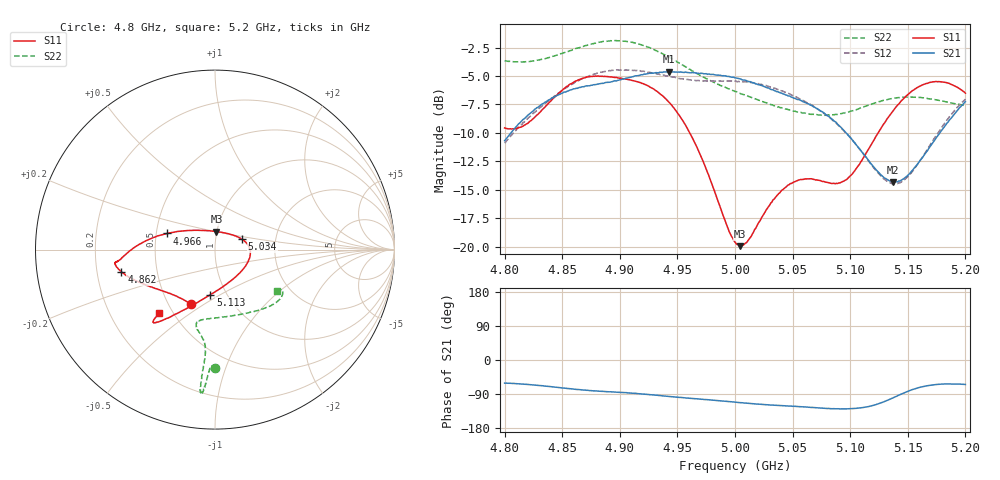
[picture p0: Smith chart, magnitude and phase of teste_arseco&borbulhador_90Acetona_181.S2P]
! Network Analyzer HP8722D
! Hewlett-Packard
! Data name: Linha & Wilkinson
! Saver's name: Rodrigo Anjos
! Comments: Teste da utilização de aquisição
! continua pelo VNA HP8722D
! Time and date: 17/4/2025 12:33
!  Frequency  S11  S21  S12  S22
# HZ  S  MA R 50
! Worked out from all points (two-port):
!   401 points, 4.8 GHz to 5.2 GHz, reference 50 ohm
!   highest |S21| = -4.62 dB at 4.943 GHz (marker M1); lowest = -14.3 dB at 5.137 GHz (marker M2)
!   |S21| within 3 dB of the highest: 4.83 GHz to 5.067 GHz (236.7 MHz wide, 4.78 % of centre); 5.196557 GHz to end of sweep
!   lowest |S11| = -20.0 dB at 5.004 GHz (marker M3), VSWR 1.22, Z = 49.8 + j10.1 ohm
!   |S11| at or under -10 dB: 4.961 GHz to 5.124 GHz (163.5 MHz wide, 3.24 % of centre)
!   |S22| runs from -8.5 to -1.9 dB; largest |S21 - S12| = 0.88
!   S11 on the Smith chart (normalised r, x): 4.8 GHz: 0.64, -0.44; 4.862 GHz: 0.31, -0.11; 4.966 GHz: 0.57, +0.11; 5.034 GHz: 1.35, +0.16; 5.113 GHz: 0.84, -0.45; 5.2 GHz: 0.42, -0.38
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4.8e9  0.3327 -113.9  0.2921 -61.1  0.2853 -175.2  0.6573 -90.0
4.819e9  0.3464 -134.0  0.3731 -64.3  0.361 -173.9  0.6515 -91.6
4.862e9  0.5357 -166.6  0.4969 -77.3  0.5303 -177.0  0.7444 -93.9
4.867e9  0.5482 -168.5  0.504 -78.8  0.5456 -178.1  0.7587 -94.1
4.898e9  0.5527 -173.0  0.5383 -85.0  0.5989 175.6  0.8044 -95.4
4.934e9  0.4744 -179.3  0.5826 -93.8  0.5745 171.7  0.717 -95.9
4.943e9  0.4296 176.7  0.5873 -96.3  0.5608 171.7  0.6793 -95.8
4.966e9  0.2799 161.2  0.5803 -102.2  0.537 173.7  0.5808 -95.3
5e9  0.1046 99.1  0.5528 -111.5  0.534 175.9  0.4813 -99.6
5.004e9  0.1004 85.5  0.5473 -112.4  0.5313 176.0  0.473 -100.3
5.012e9  0.1074 59.9  0.5315 -114.4  0.5264 175.7  0.4573 -102.2
5.034e9  0.1617 20.7  0.4859 -119.4  0.4979 174.7  0.4162 -104.0
5.049e9  0.1895 5.3  0.454 -121.7  0.4641 174.1  0.397 -100.1
5.067e9  0.1984 -13.8  0.4163 -125.2  0.4184 173.4  0.382 -91.0
5.093e9  0.1926 -58.0  0.3303 -128.9  0.3288 174.1  0.385 -70.8
5.113e9  0.2529 -95.9  0.25 -124.5  0.2487 -180.0  0.4141 -55.1
5.134e9  0.3759 -117.2  0.1947 -104.3  0.1914 -157.1  0.4458 -43.1
5.137e9  0.3938 -119.0  0.1923 -100.2  0.1889 -152.3  0.4485 -41.8
5.15e9  0.466 -124.8  0.2057 -82.5  0.2026 -132.1  0.4547 -36.8
5.17e9  0.528 -129.6  0.2779 -66.4  0.2834 -112.6  0.4462 -32.2
5.184e9  0.5253 -130.9  0.3492 -63.2  0.3606 -107.4  0.4327 -31.3
5.2e9  0.4729 -131.3  0.4338 -64.6  0.4451 -106.7  0.4162 -33.6
